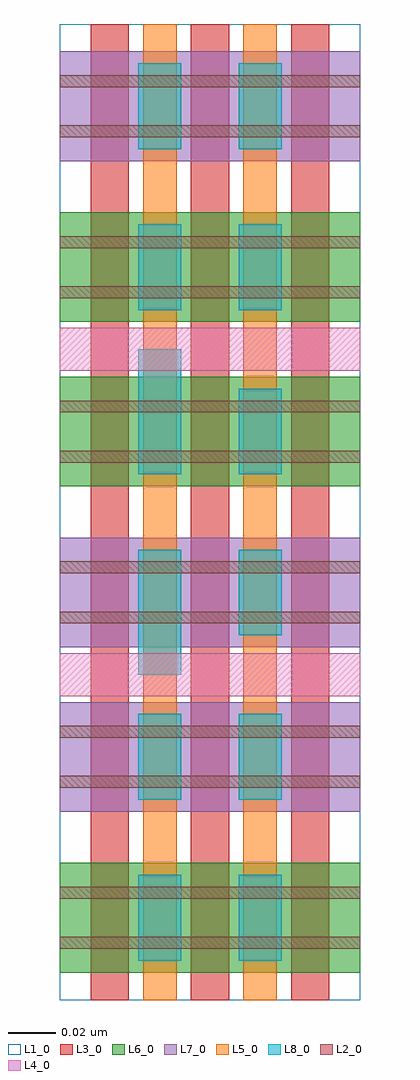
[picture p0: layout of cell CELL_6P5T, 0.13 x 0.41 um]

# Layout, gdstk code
import gdstk
lib = gdstk.Library(unit=1e-6, precision=1e-11)
def R(c, l, rs):  # rectangles x0, y0, x1, y1
    for r in rs: c.add(gdstk.rectangle(r[:2], r[2:], *l))
def A(c, l, x, y, w, h, nx, ny, dx, dy):  # array of equal rectangles
    R(c, l, [(x+i*dx, y+j*dy, x+i*dx+w, y+j*dy+h) for i in range(nx) for j in range(ny)])
L1_0 = (1, 0)
L2_0 = (2, 0)
L3_0 = (3, 0)
L4_0 = (4, 0)
L5_0 = (5, 0)
L6_0 = (6, 0)
L7_0 = (7, 0)
L8_0 = (8, 0)

cell_6p5t = lib.new_cell('CELL_6P5T')
R(cell_6p5t, L1_0, [(0,0,0.126,0.4095)])
R(cell_6p5t, L2_0, [(0,0.0215,0.126,0.0265), (0,0.0425,0.126,0.0475), (0,0.089,0.126,0.094), (0,0.11,0.126,0.115), (0,0.158,0.126,0.163), (0,0.179,0.126,0.184), (0,0.2255,0.126,0.2305), (0,0.2465,0.126,0.2515), (0,0.2945,0.126,0.2995), (0,0.3155,0.126,0.3205), (0,0.362,0.126,0.367), (0,0.383,0.126,0.388)])
A(cell_6p5t, L3_0, 0.013, 0, 0.016, 0.4095, 3, 1, 0.042, 0)
R(cell_6p5t, L4_0, [(0,0.1275,0.126,0.1455), (0,0.264,0.126,0.282)])
R(cell_6p5t, L5_0, [(0.035,0,0.049,0.4095), (0.077,0,0.091,0.4095)])
R(cell_6p5t, L6_0, [(0,0.0115,0.126,0.0575), (0,0.2155,0.126,0.2615), (0,0.2845,0.126,0.3305)])
R(cell_6p5t, L7_0, [(0,0.079,0.126,0.125), (0,0.148,0.126,0.194), (0,0.352,0.126,0.398)])
R(cell_6p5t, L8_0, [(0.033,0.0165,0.051,0.0525), (0.075,0.0165,0.093,0.0525), (0.033,0.084,0.051,0.12), (0.075,0.084,0.093,0.12), (0.033,0.1365,0.051,0.189), (0.075,0.153,0.093,0.189), (0.033,0.2205,0.051,0.273), (0.075,0.2205,0.093,0.2565), (0.033,0.2895,0.051,0.3255), (0.075,0.2895,0.093,0.3255), (0.033,0.357,0.051,0.393), (0.075,0.357,0.093,0.393)])

lib.write_gds('CELL_6P5T.gds')
